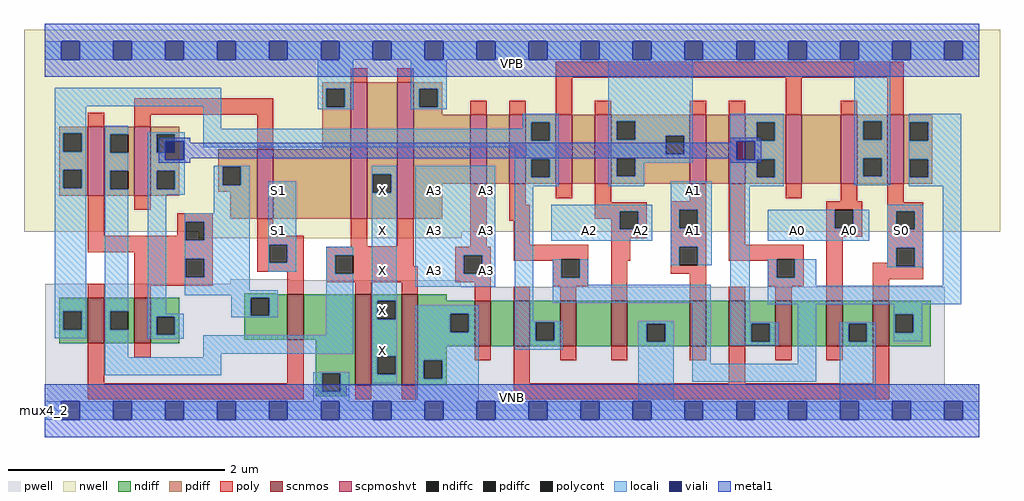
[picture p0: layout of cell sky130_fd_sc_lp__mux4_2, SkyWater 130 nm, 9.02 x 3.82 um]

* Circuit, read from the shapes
.subckt sky130_fd_sc_lp__mux4_2 A0 A1 A2 A3 S0 S1 VGND VNB VPB VPWR X
XM1 n1 S1 n2 VNB sky130_fd_pr__nfet_01v8 w=0.42 l=0.15
XM2 n3 n4 n1 VNB sky130_fd_pr__nfet_01v8 w=0.42 l=0.15
XM3 VGND S1 n4 VNB sky130_fd_pr__nfet_01v8 w=0.42 l=0.15
XM4 X n1 VGND VNB sky130_fd_pr__nfet_01v8 w=0.84 l=0.15 m=2
XM5 n5 A3 VGND VNB sky130_fd_pr__nfet_01v8 w=0.42 l=0.15
XM6 n2 S0 n5 VNB sky130_fd_pr__nfet_01v8 w=0.42 l=0.15
XM7 n6 n7 n2 VNB sky130_fd_pr__nfet_01v8 w=0.42 l=0.15
XM8 VGND A2 n6 VNB sky130_fd_pr__nfet_01v8 w=0.42 l=0.15
XM9 n8 A1 VGND VNB sky130_fd_pr__nfet_01v8 w=0.42 l=0.15
XM10 n3 S0 n8 VNB sky130_fd_pr__nfet_01v8 w=0.42 l=0.15
XM11 n9 n7 n3 VNB sky130_fd_pr__nfet_01v8 w=0.42 l=0.15
XM12 VGND A0 n9 VNB sky130_fd_pr__nfet_01v8 w=0.42 l=0.15
XM13 n7 S0 VGND VNB sky130_fd_pr__nfet_01v8 w=0.42 l=0.15
XM14 n1 n4 n2 VPB sky130_fd_pr__pfet_01v8_hvt w=0.64 l=0.15
XM15 n3 S1 n1 VPB sky130_fd_pr__pfet_01v8_hvt w=0.64 l=0.15
XM16 VPWR S1 n4 VPB sky130_fd_pr__pfet_01v8_hvt w=0.64 l=0.15
XM17 X n1 VPWR VPB sky130_fd_pr__pfet_01v8_hvt w=1.26 l=0.15 m=2
XM18 n10 A3 VPWR VPB sky130_fd_pr__pfet_01v8_hvt w=0.64 l=0.15
XM19 n2 n7 n10 VPB sky130_fd_pr__pfet_01v8_hvt w=0.64 l=0.15
XM20 n11 S0 n2 VPB sky130_fd_pr__pfet_01v8_hvt w=0.64 l=0.15
XM21 VPWR A2 n11 VPB sky130_fd_pr__pfet_01v8_hvt w=0.64 l=0.15
XM22 n12 A1 VPWR VPB sky130_fd_pr__pfet_01v8_hvt w=0.64 l=0.15
XM23 n3 n7 n12 VPB sky130_fd_pr__pfet_01v8_hvt w=0.64 l=0.15
XM24 n13 S0 n3 VPB sky130_fd_pr__pfet_01v8_hvt w=0.64 l=0.15
XM25 VPWR A0 n13 VPB sky130_fd_pr__pfet_01v8_hvt w=0.64 l=0.15
XM26 n7 S0 VPWR VPB sky130_fd_pr__pfet_01v8_hvt w=0.64 l=0.15
.ends

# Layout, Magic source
magic
tech sky130A
magscale 1 2
<< nwell >>
rect -38 331 1766 704
rect 285 319 771 331
<< pwell >>
rect 343 241 453 243
rect 343 235 769 241
rect 1 229 769 235
rect 1 49 1664 229
rect 0 0 1728 49
<< scnmos >>
rect 80 125 110 209
rect 166 125 196 209
rect 449 131 479 215
rect 574 47 604 215
rect 660 47 690 215
rect 795 119 825 203
rect 867 119 897 203
rect 953 119 983 203
rect 1047 119 1077 203
rect 1193 119 1223 203
rect 1265 119 1295 203
rect 1351 119 1381 203
rect 1445 119 1475 203
rect 1531 119 1561 203
<< scpmoshvt >>
rect 80 397 110 525
rect 166 397 196 525
rect 393 355 423 483
rect 566 355 596 607
rect 652 355 682 607
rect 787 419 817 547
rect 859 419 889 547
rect 945 419 975 547
rect 1017 419 1047 547
rect 1193 419 1223 547
rect 1265 419 1295 547
rect 1370 419 1400 547
rect 1472 419 1502 547
rect 1558 419 1588 547
<< ndiff >>
rect 369 215 427 217
rect 369 209 449 215
rect 27 184 80 209
rect 27 150 35 184
rect 69 150 80 184
rect 27 125 80 150
rect 110 184 166 209
rect 110 150 121 184
rect 155 150 166 184
rect 110 125 166 150
rect 196 174 249 209
rect 196 140 207 174
rect 241 140 249 174
rect 196 125 249 140
rect 369 175 381 209
rect 415 175 449 209
rect 369 131 449 175
rect 479 131 574 215
rect 501 69 574 131
rect 501 35 513 69
rect 547 47 574 69
rect 604 203 660 215
rect 604 169 615 203
rect 649 169 660 203
rect 604 101 660 169
rect 604 67 615 101
rect 649 67 660 101
rect 604 47 660 67
rect 690 203 743 215
rect 690 179 795 203
rect 690 145 750 179
rect 784 145 795 179
rect 690 119 795 145
rect 825 119 867 203
rect 897 163 953 203
rect 897 129 908 163
rect 942 129 953 163
rect 897 119 953 129
rect 983 119 1047 203
rect 1077 161 1193 203
rect 1077 127 1113 161
rect 1147 127 1193 161
rect 1077 119 1193 127
rect 1223 119 1265 203
rect 1295 161 1351 203
rect 1295 127 1306 161
rect 1340 127 1351 161
rect 1295 119 1351 127
rect 1381 119 1445 203
rect 1475 161 1531 203
rect 1475 127 1486 161
rect 1520 127 1531 161
rect 1475 119 1531 127
rect 1561 178 1638 203
rect 1561 144 1572 178
rect 1606 144 1638 178
rect 1561 119 1638 144
rect 690 93 743 119
rect 690 59 701 93
rect 735 59 743 93
rect 690 47 743 59
rect 547 35 559 47
rect 501 27 559 35
<< pdiff >>
rect 513 595 566 607
rect 27 513 80 525
rect 27 479 35 513
rect 69 479 80 513
rect 27 445 80 479
rect 27 411 35 445
rect 69 411 80 445
rect 27 397 80 411
rect 110 511 166 525
rect 110 477 121 511
rect 155 477 166 511
rect 110 443 166 477
rect 110 409 121 443
rect 155 409 166 443
rect 110 397 166 409
rect 196 511 249 525
rect 196 477 207 511
rect 241 477 249 511
rect 513 561 521 595
rect 555 561 566 595
rect 513 483 566 561
rect 196 443 249 477
rect 196 409 207 443
rect 241 409 249 443
rect 196 397 249 409
rect 321 451 393 483
rect 321 417 329 451
rect 363 417 393 451
rect 321 405 393 417
rect 343 355 393 405
rect 423 355 566 483
rect 596 437 652 607
rect 596 403 607 437
rect 641 403 652 437
rect 596 355 652 403
rect 682 595 735 607
rect 682 561 693 595
rect 727 561 735 595
rect 682 547 735 561
rect 682 419 787 547
rect 817 419 859 547
rect 889 533 945 547
rect 889 499 900 533
rect 934 499 945 533
rect 889 465 945 499
rect 889 431 900 465
rect 934 431 945 465
rect 889 419 945 431
rect 975 419 1017 547
rect 1047 535 1193 547
rect 1047 501 1058 535
rect 1092 508 1193 535
rect 1092 501 1148 508
rect 1047 474 1148 501
rect 1182 474 1193 508
rect 1047 467 1193 474
rect 1047 433 1058 467
rect 1092 433 1193 467
rect 1047 419 1193 433
rect 1223 419 1265 547
rect 1295 533 1370 547
rect 1295 499 1316 533
rect 1350 499 1370 533
rect 1295 465 1370 499
rect 1295 431 1316 465
rect 1350 431 1370 465
rect 1295 419 1370 431
rect 1400 419 1472 547
rect 1502 535 1558 547
rect 1502 501 1513 535
rect 1547 501 1558 535
rect 1502 467 1558 501
rect 1502 433 1513 467
rect 1547 433 1558 467
rect 1502 419 1558 433
rect 1588 533 1641 547
rect 1588 499 1599 533
rect 1633 499 1641 533
rect 1588 465 1641 499
rect 1588 431 1599 465
rect 1633 431 1641 465
rect 1588 419 1641 431
rect 682 355 735 419
<< ndiffc >>
rect 35 150 69 184
rect 121 150 155 184
rect 207 140 241 174
rect 381 175 415 209
rect 513 35 547 69
rect 615 169 649 203
rect 615 67 649 101
rect 750 145 784 179
rect 908 129 942 163
rect 1113 127 1147 161
rect 1306 127 1340 161
rect 1486 127 1520 161
rect 1572 144 1606 178
rect 701 59 735 93
<< pdiffc >>
rect 35 479 69 513
rect 35 411 69 445
rect 121 477 155 511
rect 121 409 155 443
rect 207 477 241 511
rect 521 561 555 595
rect 207 409 241 443
rect 329 417 363 451
rect 607 403 641 437
rect 693 561 727 595
rect 900 499 934 533
rect 900 431 934 465
rect 1058 501 1092 535
rect 1148 474 1182 508
rect 1058 433 1092 467
rect 1316 499 1350 533
rect 1316 431 1350 465
rect 1513 501 1547 535
rect 1513 433 1547 467
rect 1599 499 1633 533
rect 1599 431 1633 465
<< poly >>
rect 566 607 596 633
rect 652 607 682 633
rect 945 615 1588 645
rect 80 525 110 551
rect 166 547 423 577
rect 166 525 196 547
rect 393 483 423 547
rect 80 323 110 397
rect 166 371 196 397
rect 245 349 311 365
rect 787 547 817 573
rect 859 547 889 573
rect 945 547 975 615
rect 1017 547 1047 573
rect 1193 547 1223 573
rect 1265 547 1295 573
rect 1370 547 1400 615
rect 1472 547 1502 573
rect 1558 547 1588 615
rect 245 323 261 349
rect 80 315 261 323
rect 295 315 311 349
rect 80 293 311 315
rect 166 281 311 293
rect 166 247 261 281
rect 295 247 311 281
rect 393 323 423 355
rect 393 307 479 323
rect 393 273 415 307
rect 449 273 479 307
rect 566 304 596 355
rect 652 304 682 355
rect 566 303 682 304
rect 787 303 817 419
rect 859 381 889 419
rect 945 393 975 419
rect 1017 385 1047 419
rect 1193 387 1223 419
rect 859 351 897 381
rect 1017 369 1113 385
rect 1017 355 1063 369
rect 867 307 897 351
rect 1047 335 1063 355
rect 1097 335 1113 369
rect 1047 319 1113 335
rect 1157 371 1223 387
rect 1157 337 1173 371
rect 1207 337 1223 371
rect 393 257 479 273
rect 80 209 110 235
rect 166 231 311 247
rect 166 209 196 231
rect 449 215 479 257
rect 521 287 682 303
rect 521 253 537 287
rect 571 267 682 287
rect 759 287 825 303
rect 571 253 690 267
rect 521 237 690 253
rect 759 253 775 287
rect 809 253 825 287
rect 867 280 1005 307
rect 867 277 955 280
rect 759 237 825 253
rect 574 215 604 237
rect 660 215 690 237
rect 80 51 110 125
rect 166 99 196 125
rect 449 51 479 131
rect 80 21 479 51
rect 795 203 825 237
rect 939 246 955 277
rect 989 246 1005 280
rect 939 230 1005 246
rect 1047 277 1083 319
rect 1157 303 1223 337
rect 867 203 897 229
rect 953 203 983 230
rect 1047 203 1077 277
rect 1157 269 1173 303
rect 1207 269 1223 303
rect 1265 307 1295 419
rect 1370 393 1400 419
rect 1472 387 1502 419
rect 1445 371 1511 387
rect 1445 337 1461 371
rect 1495 337 1511 371
rect 1445 321 1511 337
rect 1558 385 1588 419
rect 1558 369 1624 385
rect 1558 335 1574 369
rect 1608 335 1624 369
rect 1265 280 1403 307
rect 1265 277 1353 280
rect 1157 253 1223 269
rect 1193 203 1223 253
rect 1337 246 1353 277
rect 1387 246 1403 280
rect 1337 230 1403 246
rect 1265 203 1295 229
rect 1351 203 1381 230
rect 1445 203 1475 321
rect 1558 301 1624 335
rect 1558 273 1574 301
rect 1531 267 1574 273
rect 1608 267 1624 301
rect 1531 243 1624 267
rect 1531 203 1561 243
rect 795 93 825 119
rect 867 51 897 119
rect 953 93 983 119
rect 1047 93 1077 119
rect 1193 93 1223 119
rect 1265 51 1295 119
rect 1351 93 1381 119
rect 1445 93 1475 119
rect 1531 51 1561 119
rect 574 21 604 47
rect 660 21 690 47
rect 867 21 1561 51
<< polycont >>
rect 261 315 295 349
rect 261 247 295 281
rect 415 273 449 307
rect 1063 335 1097 369
rect 1173 337 1207 371
rect 537 253 571 287
rect 775 253 809 287
rect 955 246 989 280
rect 1173 269 1207 303
rect 1461 337 1495 371
rect 1574 335 1608 369
rect 1353 246 1387 280
rect 1574 267 1608 301
<< locali >>
rect 0 649 31 683
rect 65 649 127 683
rect 161 649 223 683
rect 257 649 319 683
rect 353 649 415 683
rect 449 649 511 683
rect 545 649 607 683
rect 641 649 703 683
rect 737 649 799 683
rect 833 649 895 683
rect 929 649 991 683
rect 1025 649 1087 683
rect 1121 649 1183 683
rect 1217 649 1279 683
rect 1313 649 1375 683
rect 1409 649 1471 683
rect 1505 649 1567 683
rect 1601 649 1663 683
rect 1697 649 1728 683
rect 19 563 327 597
rect 19 513 77 563
rect 19 479 35 513
rect 69 479 77 513
rect 19 445 77 479
rect 19 411 35 445
rect 69 411 77 445
rect 19 184 77 411
rect 19 150 35 184
rect 69 150 77 184
rect 19 134 77 150
rect 111 511 155 527
rect 293 521 327 563
rect 505 595 571 649
rect 505 561 521 595
rect 555 561 571 595
rect 505 557 571 561
rect 677 595 743 649
rect 677 561 693 595
rect 727 561 743 595
rect 677 557 743 561
rect 884 533 950 549
rect 884 521 900 533
rect 111 477 121 511
rect 111 443 155 477
rect 111 409 121 443
rect 111 184 155 409
rect 111 150 121 184
rect 111 99 155 150
rect 191 511 259 515
rect 191 477 207 511
rect 241 498 259 511
rect 191 464 223 477
rect 257 464 259 498
rect 293 499 900 521
rect 934 499 950 533
rect 293 487 950 499
rect 191 443 259 464
rect 869 465 950 487
rect 191 409 207 443
rect 241 409 259 443
rect 191 399 259 409
rect 313 451 379 453
rect 313 417 329 451
rect 363 417 379 451
rect 605 437 651 453
rect 191 179 225 399
rect 313 365 379 417
rect 259 349 379 365
rect 259 315 261 349
rect 295 315 379 349
rect 259 281 379 315
rect 259 247 261 281
rect 295 247 379 281
rect 413 307 465 424
rect 413 273 415 307
rect 449 273 465 307
rect 605 403 607 437
rect 641 403 651 437
rect 413 257 465 273
rect 521 287 571 303
rect 259 223 379 247
rect 521 253 537 287
rect 259 213 431 223
rect 345 209 431 213
rect 191 174 257 179
rect 191 140 207 174
rect 241 140 257 174
rect 345 175 381 209
rect 415 175 431 209
rect 345 173 431 175
rect 191 133 257 140
rect 521 139 571 253
rect 293 105 571 139
rect 605 203 651 403
rect 685 287 833 453
rect 685 253 775 287
rect 809 253 833 287
rect 685 229 833 253
rect 869 431 900 465
rect 934 431 950 465
rect 869 415 950 431
rect 1042 535 1198 649
rect 1042 501 1058 535
rect 1092 508 1198 535
rect 1092 501 1148 508
rect 1042 474 1148 501
rect 1182 474 1198 508
rect 1042 467 1198 474
rect 1042 433 1058 467
rect 1092 458 1198 467
rect 1267 533 1366 549
rect 1267 499 1316 533
rect 1350 499 1366 533
rect 1267 498 1366 499
rect 1267 464 1279 498
rect 1313 465 1366 498
rect 1313 464 1316 465
rect 1092 433 1108 458
rect 1042 415 1108 433
rect 1267 431 1316 464
rect 1350 431 1366 465
rect 605 169 615 203
rect 649 169 651 203
rect 293 99 327 105
rect 111 65 327 99
rect 605 101 651 169
rect 497 69 563 71
rect 497 35 513 69
rect 547 35 563 69
rect 605 67 615 101
rect 649 67 651 101
rect 605 51 651 67
rect 685 179 803 195
rect 685 145 750 179
rect 784 145 803 179
rect 685 93 803 145
rect 869 165 903 415
rect 937 369 1123 381
rect 937 335 1063 369
rect 1097 335 1123 369
rect 937 314 1123 335
rect 1157 371 1233 424
rect 1157 337 1173 371
rect 1207 337 1233 371
rect 1157 303 1233 337
rect 939 246 955 280
rect 989 246 1005 280
rect 1157 269 1173 303
rect 1207 269 1233 303
rect 1267 415 1366 431
rect 1497 535 1563 649
rect 1497 501 1513 535
rect 1547 501 1563 535
rect 1497 467 1563 501
rect 1497 433 1513 467
rect 1547 433 1563 467
rect 1497 417 1563 433
rect 1597 533 1694 549
rect 1597 499 1599 533
rect 1633 499 1694 533
rect 1597 465 1694 499
rect 1597 431 1599 465
rect 1633 431 1694 465
rect 1597 415 1694 431
rect 939 233 1005 246
rect 939 199 1231 233
rect 869 163 958 165
rect 869 129 908 163
rect 942 129 958 163
rect 869 113 958 129
rect 1097 161 1163 165
rect 1097 127 1113 161
rect 1147 127 1163 161
rect 685 59 701 93
rect 735 59 803 93
rect 497 17 563 35
rect 685 17 803 59
rect 1097 17 1163 127
rect 1197 87 1231 199
rect 1267 163 1303 415
rect 1337 337 1461 371
rect 1495 337 1524 371
rect 1337 314 1524 337
rect 1558 369 1624 381
rect 1558 335 1574 369
rect 1608 335 1624 369
rect 1558 301 1624 335
rect 1337 246 1353 280
rect 1387 246 1426 280
rect 1558 267 1574 301
rect 1608 267 1624 301
rect 1558 265 1624 267
rect 1337 231 1426 246
rect 1660 231 1694 415
rect 1337 197 1694 231
rect 1267 161 1356 163
rect 1267 127 1306 161
rect 1340 127 1356 161
rect 1267 121 1356 127
rect 1392 87 1426 197
rect 1570 178 1622 197
rect 1197 53 1426 87
rect 1470 161 1536 163
rect 1470 127 1486 161
rect 1520 127 1536 161
rect 1570 144 1572 178
rect 1606 144 1622 178
rect 1570 128 1622 144
rect 1470 17 1536 127
rect 0 -17 31 17
rect 65 -17 127 17
rect 161 -17 223 17
rect 257 -17 319 17
rect 353 -17 415 17
rect 449 -17 511 17
rect 545 -17 607 17
rect 641 -17 703 17
rect 737 -17 799 17
rect 833 -17 895 17
rect 929 -17 991 17
rect 1025 -17 1087 17
rect 1121 -17 1183 17
rect 1217 -17 1279 17
rect 1313 -17 1375 17
rect 1409 -17 1471 17
rect 1505 -17 1567 17
rect 1601 -17 1663 17
rect 1697 -17 1728 17
<< viali >>
rect 31 649 65 683
rect 127 649 161 683
rect 223 649 257 683
rect 319 649 353 683
rect 415 649 449 683
rect 511 649 545 683
rect 607 649 641 683
rect 703 649 737 683
rect 799 649 833 683
rect 895 649 929 683
rect 991 649 1025 683
rect 1087 649 1121 683
rect 1183 649 1217 683
rect 1279 649 1313 683
rect 1375 649 1409 683
rect 1471 649 1505 683
rect 1567 649 1601 683
rect 1663 649 1697 683
rect 223 477 241 498
rect 241 477 257 498
rect 223 464 257 477
rect 1279 464 1313 498
rect 31 -17 65 17
rect 127 -17 161 17
rect 223 -17 257 17
rect 319 -17 353 17
rect 415 -17 449 17
rect 511 -17 545 17
rect 607 -17 641 17
rect 703 -17 737 17
rect 799 -17 833 17
rect 895 -17 929 17
rect 991 -17 1025 17
rect 1087 -17 1121 17
rect 1183 -17 1217 17
rect 1279 -17 1313 17
rect 1375 -17 1409 17
rect 1471 -17 1505 17
rect 1567 -17 1601 17
rect 1663 -17 1697 17
<< metal1 >>
rect 0 683 1728 715
rect 0 649 31 683
rect 65 649 127 683
rect 161 649 223 683
rect 257 649 319 683
rect 353 649 415 683
rect 449 649 511 683
rect 545 649 607 683
rect 641 649 703 683
rect 737 649 799 683
rect 833 649 895 683
rect 929 649 991 683
rect 1025 649 1087 683
rect 1121 649 1183 683
rect 1217 649 1279 683
rect 1313 649 1375 683
rect 1409 649 1471 683
rect 1505 649 1567 683
rect 1601 649 1663 683
rect 1697 649 1728 683
rect 0 617 1728 649
rect 211 498 269 504
rect 211 464 223 498
rect 257 495 269 498
rect 1267 498 1325 504
rect 1267 495 1279 498
rect 257 467 1279 495
rect 257 464 269 467
rect 211 458 269 464
rect 1267 464 1279 467
rect 1313 464 1325 498
rect 1267 458 1325 464
rect 0 17 1728 49
rect 0 -17 31 17
rect 65 -17 127 17
rect 161 -17 223 17
rect 257 -17 319 17
rect 353 -17 415 17
rect 449 -17 511 17
rect 545 -17 607 17
rect 641 -17 703 17
rect 737 -17 799 17
rect 833 -17 895 17
rect 929 -17 991 17
rect 1025 -17 1087 17
rect 1121 -17 1183 17
rect 1217 -17 1279 17
rect 1313 -17 1375 17
rect 1409 -17 1471 17
rect 1505 -17 1567 17
rect 1601 -17 1663 17
rect 1697 -17 1728 17
rect 0 -49 1728 -17
<< labels >>
flabel pwell s 0 0 1728 49 0 FreeSans 200 0 0 0 VNB
port 8 nsew ground bidirectional
flabel nwell s 0 617 1728 666 0 FreeSans 200 0 0 0 VPB
port 9 nsew power bidirectional
rlabel comment s 0 0 0 0 4 mux4_2
flabel metal1 s 0 617 1728 666 0 FreeSans 340 0 0 0 VPWR
port 10 nsew power bidirectional
flabel metal1 s 0 0 1728 49 0 FreeSans 340 0 0 0 VGND
port 7 nsew ground bidirectional
flabel locali s 607 94 641 128 0 FreeSans 340 0 0 0 X
port 11 nsew signal output
flabel locali s 607 168 641 202 0 FreeSans 340 0 0 0 X
port 11 nsew signal output
flabel locali s 607 242 641 276 0 FreeSans 340 0 0 0 X
port 11 nsew signal output
flabel locali s 607 316 641 350 0 FreeSans 340 0 0 0 X
port 11 nsew signal output
flabel locali s 607 390 641 424 0 FreeSans 340 0 0 0 X
port 11 nsew signal output
flabel locali s 1375 316 1409 350 0 FreeSans 340 0 0 0 A0
port 1 nsew signal input
flabel locali s 1471 316 1505 350 0 FreeSans 340 0 0 0 A0
port 1 nsew signal input
flabel locali s 1183 316 1217 350 0 FreeSans 340 0 0 0 A1
port 2 nsew signal input
flabel locali s 1183 390 1217 424 0 FreeSans 340 0 0 0 A1
port 2 nsew signal input
flabel locali s 991 316 1025 350 0 FreeSans 340 0 0 0 A2
port 3 nsew signal input
flabel locali s 1087 316 1121 350 0 FreeSans 340 0 0 0 A2
port 3 nsew signal input
flabel locali s 703 242 737 276 0 FreeSans 340 0 0 0 A3
port 4 nsew signal input
flabel locali s 703 316 737 350 0 FreeSans 340 0 0 0 A3
port 4 nsew signal input
flabel locali s 703 390 737 424 0 FreeSans 340 0 0 0 A3
port 4 nsew signal input
flabel locali s 799 242 833 276 0 FreeSans 340 0 0 0 A3
port 4 nsew signal input
flabel locali s 799 316 833 350 0 FreeSans 340 0 0 0 A3
port 4 nsew signal input
flabel locali s 799 390 833 424 0 FreeSans 340 0 0 0 A3
port 4 nsew signal input
flabel locali s 415 316 449 350 0 FreeSans 340 0 0 0 S1
port 6 nsew signal input
flabel locali s 415 390 449 424 0 FreeSans 340 0 0 0 S1
port 6 nsew signal input
flabel locali s 1567 316 1601 350 0 FreeSans 340 0 0 0 S0
port 5 nsew signal input
<< properties >>
string LEFsite unit
string LEFclass CORE
string FIXED_BBOX 0 0 1728 666
string GDS_FILE $PDKPATH/libs.ref/sky130_fd_sc_lp/gds/sky130_fd_sc_lp.gds
string LEFsymmetry X Y R90
string GDS_END 1405712
string GDS_START 1392220
<< end >>
